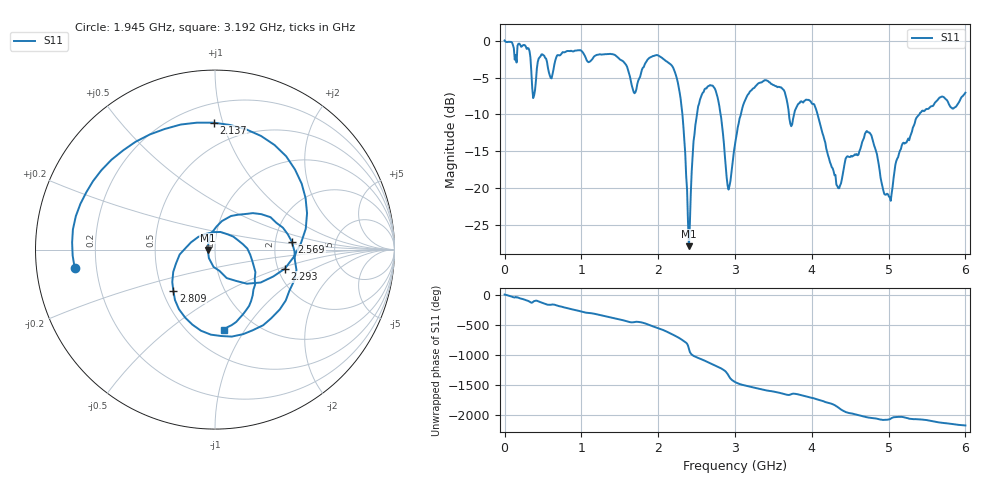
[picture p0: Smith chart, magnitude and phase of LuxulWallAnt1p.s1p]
# Hz S RI R 50
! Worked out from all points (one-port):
!   501 points, 1 MHz to 6 GHz, reference 50 ohm
!   lowest |S11| = -27.9 dB at 2.401 GHz (marker M1), VSWR 1.08, Z = 46.2 - j0.254 ohm
!   |S11| at or under -10 dB: 2.316 GHz to 2.505 GHz (189.6 MHz wide, 7.86 % of centre); 2.813 GHz to 3.077 GHz (263.9 MHz wide, 8.96 % of centre); 4.075 GHz to 5.402 GHz (1.327 GHz wide, 28 % of centre)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
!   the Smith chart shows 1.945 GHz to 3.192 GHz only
!   S11 on the Smith chart (normalised r, x): 1.945 GHz: 0.12, -0.07; 2.137 GHz: 0.33, +0.93; 2.293 GHz: 2.18, -0.55; 2.569 GHz: 2.48, +0.27; 2.809 GHz: 0.57, -0.29; 3.192 GHz: 0.72, -0.81
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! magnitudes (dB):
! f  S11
! 1 MHz  0.0
! 300.9 MHz  -1.0
! 384.9 MHz  -7.4
! 468.9 MHz  -2.1
! 600.9 MHz  -5.1
! 756.9 MHz  -1.5
! 1.501 GHz  -2.5
! 1.693 GHz  -7.1
! 1.945 GHz  -2.1
! 2.137 GHz  -3.0
! 2.257 GHz  -5.7
! 2.293 GHz  -7.9
! 2.401 GHz  -27.9
! 2.485 GHz  -11.5
! 2.569 GHz  -7.3
! 2.809 GHz  -9.7
! 2.917 GHz  -20.2
! 3.001 GHz  -14.1
! 3.192 GHz  -6.9
! 3.6 GHz  -6.3
! 3.756 GHz  -10.6
! 4.032 GHz  -8.7
! 4.344 GHz  -20.0
! 4.5 GHz  -15.8
! 4.752 GHz  -12.5
! 5.016 GHz  -21.3
! 5.256 GHz  -13.3
! 6 GHz  -7.1
